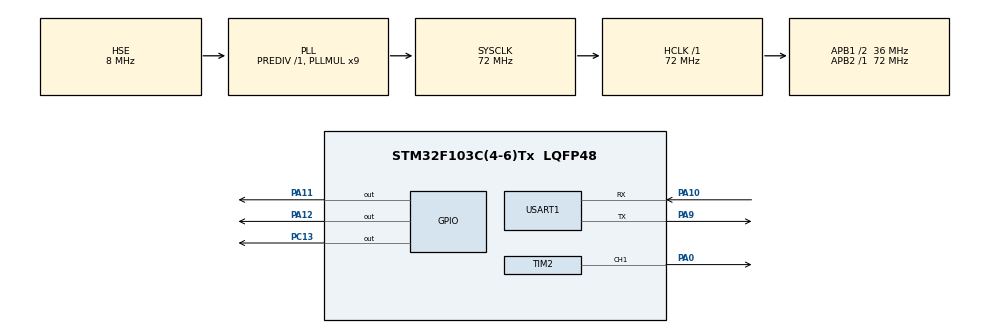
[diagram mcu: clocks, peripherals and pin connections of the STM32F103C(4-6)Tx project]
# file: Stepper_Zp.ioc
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Dma.Request0=USART1_RX
Dma.Request1=USART1_TX
Dma.USART1_RX.0.Direction=DMA_PERIPH_TO_MEMORY
Dma.USART1_RX.0.Instance=DMA1_Channel5
Dma.USART1_RX.0.MemDataAlignment=DMA_MDATAALIGN_BYTE
Dma.USART1_RX.0.MemInc=DMA_MINC_ENABLE
Dma.USART1_RX.0.Mode=DMA_NORMAL
Dma.USART1_RX.0.PeriphDataAlignment=DMA_PDATAALIGN_BYTE
Dma.USART1_RX.0.PeriphInc=DMA_PINC_DISABLE
Dma.USART1_RX.0.Priority=DMA_PRIORITY_LOW
Dma.USART1_TX.1.Direction=DMA_MEMORY_TO_PERIPH
Dma.USART1_TX.1.Instance=DMA1_Channel4
Dma.USART1_TX.1.MemDataAlignment=DMA_MDATAALIGN_BYTE
Dma.USART1_TX.1.MemInc=DMA_MINC_ENABLE
Dma.USART1_TX.1.Mode=DMA_NORMAL
Dma.USART1_TX.1.PeriphDataAlignment=DMA_PDATAALIGN_BYTE
Dma.USART1_TX.1.PeriphInc=DMA_PINC_DISABLE
Dma.USART1_TX.1.Priority=DMA_PRIORITY_LOW
FREERTOS.Tasks01=defaultTask,24,128,StartDefaultTask,Default,NULL,Dynamic,NULL,NULL;myTask02,8,256,StartTask02,Default,NULL,Dynamic,NULL,NULL
Mcu.Family=STM32F1
Mcu.Name=STM32F103C(4-6)Tx
Mcu.Package=LQFP48
NVIC.DMA1_Channel4_IRQn=true\:5\:0\:false\:false\:true\:true\:false\:true\:true
NVIC.DMA1_Channel5_IRQn=true\:5\:0\:false\:false\:true\:true\:false\:true\:true
NVIC.PriorityGroup=NVIC_PRIORITYGROUP_4
NVIC.TIM2_IRQn=true\:5\:0\:false\:false\:true\:true\:true\:true\:true
NVIC.USART1_IRQn=true\:5\:0\:false\:false\:true\:true\:false\:true\:true
PA0-WKUP.Signal=S_TIM2_CH1_ETR
PA10.Mode=Asynchronous
PA10.Signal=USART1_RX
PA11.GPIO_PuPd=GPIO_PULLDOWN
PA11.Signal=GPIO_Output
PA12.GPIO_PuPd=GPIO_PULLDOWN
PA12.Signal=GPIO_Output
PA13.Mode=Serial_Wire
PA13.Signal=SYS_JTMS-SWDIO
PA14.Mode=Serial_Wire
PA14.Signal=SYS_JTCK-SWCLK
PA9.Mode=Asynchronous
PA9.Signal=USART1_TX
PC13-TAMPER-RTC.Signal=GPIO_Output
PD0-OSC_IN.Mode=HSE-External-Oscillator
PD0-OSC_IN.Signal=RCC_OSC_IN
PD1-OSC_OUT.Mode=HSE-External-Oscillator
PD1-OSC_OUT.Signal=RCC_OSC_OUT
ProjectManager.HeapSize=0x200
ProjectManager.StackSize=0x400
ProjectManager.TargetToolchain=MDK-ARM V5.32
RCC.AHBFreq_Value=72000000
RCC.APB1CLKDivider=RCC_HCLK_DIV2
RCC.APB1Freq_Value=36000000
RCC.APB1TimFreq_Value=72000000
RCC.APB2Freq_Value=72000000
RCC.APB2TimFreq_Value=72000000
RCC.HCLKFreq_Value=72000000
RCC.PLLMUL=RCC_PLL_MUL9
RCC.PLLSourceVirtual=RCC_PLLSOURCE_HSE
RCC.SYSCLKFreq_VALUE=72000000
RCC.SYSCLKSource=RCC_SYSCLKSOURCE_PLLCLK
RCC.USBFreq_Value=72000000
SH.S_TIM2_CH1_ETR.0=TIM2_CH1,PWM Generation1 CH1
TIM2.Channel-PWM\ Generation1\ CH1=TIM_CHANNEL_1
USART1.VirtualMode=VM_ASYNC
VP_FREERTOS_VS_CMSIS_V2.Mode=CMSIS_V2
board=custom

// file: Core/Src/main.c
/* USER CODE BEGIN Header */
/**
 ******************************************************************************
 * @file           : main.c
 * @brief          : Main program body
 ******************************************************************************
 * @attention
 *
 * Copyright (c) 2024 STMicroelectronics.
 * All rights reserved.
 *
 * This software is licensed under terms that can be found in the LICENSE file
 * in the root directory of this software component.
 * If no LICENSE file comes with this software, it is provided AS-IS.
 *
 ******************************************************************************
 */
/* USER CODE END Header */
#include "main.h"
#include "cmsis_os.h"
#include "dma.h"
#include "tim.h"
#include "usart.h"
#include "gpio.h"

/* USER CODE BEGIN Includes */
#include "stepper_a4988.h"
/* USER CODE END Includes */

/* USER CODE BEGIN PM */

// 硬件串口重定向函�??
int fputc(int ch, FILE *f)
{
  HAL_UART_Transmit(&huart1, (uint8_t *)&ch, 1, HAL_MAX_DELAY);
  // HAL_UART_Transmit_DMA(&huart1, (uint8_t*)&ch, 1);
  return ch;
}

/*
串口接收中断回调函数
*/
uint8_t Rx_data[200] = {0};
char received_string[256];
extern DMA_HandleTypeDef hdma_usart1_rx;

void HAL_UARTEx_RxEventCallback(UART_HandleTypeDef *huart, uint16_t Size)
{
  if (huart == &huart1)
  {

    strcpy(received_string, (char *)Rx_data);
    fprintf(stdout, "%s\r\n", received_string); // 将串�??1接收到的数据返回到串�??1
    memset(Rx_data, 0, sizeof(Rx_data));
    HAL_UARTEx_ReceiveToIdle_DMA(huart, Rx_data, sizeof(Rx_data) - 1);
    __HAL_DMA_DISABLE_IT(&hdma_usart1_rx, DMA_IT_HT);
  }
}

void HAL_TIM_PWM_PulseFinishedCallback(TIM_HandleTypeDef *htim)
{
  if (htim->Instance == TIM2)
  {
    stepper_Callback();
  }
}
/* USER CODE END PM */

void SystemClock_Config(void);
void MX_FREERTOS_Init(void);

int main(void)
{

  /* MCU Configuration--------------------------------------------------------*/

  /* Reset of all peripherals, Initializes the Flash interface and the Systick. */
  HAL_Init();

  /* Configure the system clock */
  SystemClock_Config();

  /* Initialize all configured peripherals */
  MX_GPIO_Init();
  MX_DMA_Init();
  MX_USART1_UART_Init();
  MX_TIM2_Init();
  /* USER CODE BEGIN 2 */
  HAL_UARTEx_ReceiveToIdle_DMA(&huart1, Rx_data, 200 - 1); // 启用空闲中断接收
  __HAL_DMA_DISABLE_IT(&hdma_usart1_rx, DMA_IT_HT);        // 关闭DMA传输过半中断
  /* USER CODE END 2 */

  /* Init scheduler */
  osKernelInitialize();

  /* Call init function for freertos objects (in cmsis_os2.c) */
  MX_FREERTOS_Init();

  /* Start scheduler */
  osKernelStart();

  /* We should never get here as control is now taken by the scheduler */

  /* Infinite loop */
  while (1)
  {

  }
}

void SystemClock_Config(void)
{
  RCC_OscInitTypeDef RCC_OscInitStruct = {0};
  RCC_ClkInitTypeDef RCC_ClkInitStruct = {0};

  /** Initializes the RCC Oscillators according to the specified parameters
  * in the RCC_OscInitTypeDef structure.
  */
  RCC_OscInitStruct.OscillatorType = RCC_OSCILLATORTYPE_HSE;
  RCC_OscInitStruct.HSEState = RCC_HSE_ON;
  RCC_OscInitStruct.HSEPredivValue = RCC_HSE_PREDIV_DIV1;
  RCC_OscInitStruct.HSIState = RCC_HSI_ON;
  RCC_OscInitStruct.PLL.PLLState = RCC_PLL_ON;
  RCC_OscInitStruct.PLL.PLLSource = RCC_PLLSOURCE_HSE;
  RCC_OscInitStruct.PLL.PLLMUL = RCC_PLL_MUL9;
  if (HAL_RCC_OscConfig(&RCC_OscInitStruct) != HAL_OK)
  {
    Error_Handler();
  }

  /** Initializes the CPU, AHB and APB buses clocks
  */
  RCC_ClkInitStruct.ClockType = RCC_CLOCKTYPE_HCLK|RCC_CLOCKTYPE_SYSCLK
                              |RCC_CLOCKTYPE_PCLK1|RCC_CLOCKTYPE_PCLK2;
  RCC_ClkInitStruct.SYSCLKSource = RCC_SYSCLKSOURCE_PLLCLK;
  RCC_ClkInitStruct.AHBCLKDivider = RCC_SYSCLK_DIV1;
  RCC_ClkInitStruct.APB1CLKDivider = RCC_HCLK_DIV2;
  RCC_ClkInitStruct.APB2CLKDivider = RCC_HCLK_DIV1;

  if (HAL_RCC_ClockConfig(&RCC_ClkInitStruct, FLASH_LATENCY_2) != HAL_OK)
  {
    Error_Handler();
  }
}

void Error_Handler(void)
{
  __disable_irq();
  while (1)
  {
  }
}

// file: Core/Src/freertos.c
/* USER CODE BEGIN Header */
/**
 ******************************************************************************
 * File Name          : freertos.c
 * Description        : Code for freertos applications
 ******************************************************************************
 * @attention
 *
 * Copyright (c) 2024 STMicroelectronics.
 * All rights reserved.
 *
 * This software is licensed under terms that can be found in the LICENSE file
 * in the root directory of this software component.
 * If no LICENSE file comes with this software, it is provided AS-IS.
 *
 ******************************************************************************
 */
/* USER CODE END Header */

#include "FreeRTOS.h"
#include "task.h"
#include "main.h"
#include "cmsis_os.h"

/* USER CODE BEGIN Includes */
#include "tim.h"
#include "stepper_a4988.h"
/* USER CODE END Includes */

/* Definitions for defaultTask */
osThreadId_t defaultTaskHandle;
const osThreadAttr_t defaultTask_attributes = {
    .name = "defaultTask",
    .stack_size = 128 * 4,
    .priority = (osPriority_t)osPriorityNormal,
};
/* Definitions for myTask02 */
osThreadId_t myTask02Handle;
const osThreadAttr_t myTask02_attributes = {
    .name = "myTask02",
    .stack_size = 256 * 4,
    .priority = (osPriority_t)osPriorityLow,
};

void StartDefaultTask(void *argument);
void StartTask02(void *argument);

void MX_FREERTOS_Init(void); /* (MISRA C 2004 rule 8.1) */

void MX_FREERTOS_Init(void)
{

  /* Create the thread(s) */
  /* creation of defaultTask */
  defaultTaskHandle = osThreadNew(StartDefaultTask, NULL, &defaultTask_attributes);

  /* creation of myTask02 */
  myTask02Handle = osThreadNew(StartTask02, NULL, &myTask02_attributes);

}

void StartDefaultTask(void *argument)
{
  /* USER CODE BEGIN StartDefaultTask */
  /* Infinite loop */
  for (;;)
  {
    HAL_GPIO_TogglePin(GPIOC, GPIO_PIN_13);
    osDelay(20);
    osDelay(1);
  }
  /* USER CODE END StartDefaultTask */
}

void StartTask02(void *argument)
{
  /* USER CODE BEGIN StartTask02 */
  HAL_GPIO_WritePin(GPIOA, GPIO_PIN_11, GPIO_PIN_RESET);

  /* Infinite loop */
  for (;;)
  {
    HAL_GPIO_TogglePin(GPIOA, GPIO_PIN_11);
    HAL_GPIO_TogglePin(GPIOA, GPIO_PIN_12);

    stepperRotateAngle(60, 15);
    osDelay(2000);
    osDelay(1);
  }
  /* USER CODE END StartTask02 */
}
